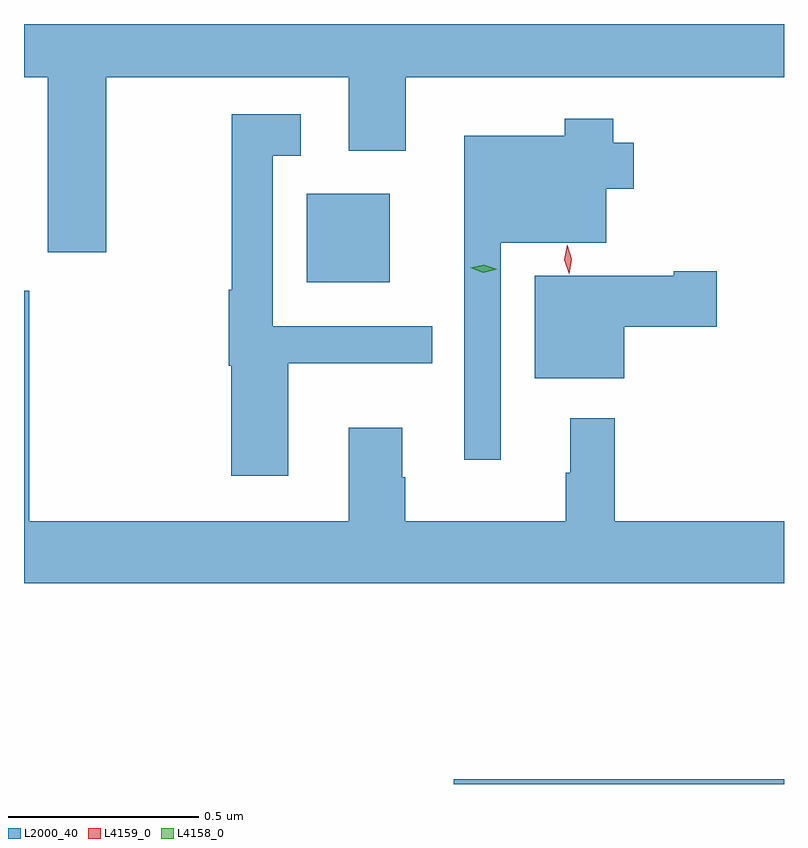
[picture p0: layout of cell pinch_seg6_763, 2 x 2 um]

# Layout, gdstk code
import gdstk
lib = gdstk.Library(unit=1e-6, precision=1e-09)
def R(c, l, rs):  # rectangles x0, y0, x1, y1
    for r in rs: c.add(gdstk.rectangle(r[:2], r[2:], *l))
def P(c, l, *ps):  # polygons
    for p in ps: c.add(gdstk.Polygon(p, *l))
L2000_40 = (2000, 40)
L4158_0 = (4158, 0)
L4159_0 = (4159, 0)

pinch_seg6_763 = lib.new_cell('pinch_seg6_763')
R(pinch_seg6_763, L2000_40, [(507.143,936.152,508.012,936.164), (506.756,937.472,506.974,937.705)])
P(pinch_seg6_763, L2000_40, [(506.229,938.012),(506.867,938.012),(506.867,937.818),(507.016,937.818),(507.016,938.012),(508.012,938.012),(508.012,938.152),(506.012,938.152),(506.012,938.012),(506.074,938.012),(506.074,937.551),(506.229,937.551)],
  [(506.707,937.259),(507.086,937.259),(507.086,937.356),(506.667,937.356),(506.667,937.805),(506.74,937.805),(506.74,937.915),(506.559,937.915),(506.559,937.453),(506.551,937.453),(506.551,937.253),(506.558,937.253),(506.558,936.963),(506.707,936.963)],
  [(507.267,937.577),(507.544,937.577),(507.544,937.718),(507.617,937.718),(507.617,937.84),(507.563,937.84),(507.563,937.903),(507.435,937.903),(507.435,937.858),(507.17,937.858),(507.17,937.481),(507.171,937.481),(507.171,937.005),(507.267,937.005)],
  [(507.592,937.355),(507.835,937.355),(507.835,937.502),(507.722,937.502),(507.722,937.489),(507.356,937.489),(507.356,937.22),(507.592,937.22)],
  [(508.012,936.844),(507.566,936.844),(507.566,937.114),(507.449,937.114),(507.449,936.971),(507.438,936.971),(507.438,936.844),(507.015,936.844),(507.015,936.959),(507.007,936.959),(507.007,937.09),(506.867,937.09),(506.867,936.844),(506.026,936.844),(506.026,937.45),(506.012,937.45),(506.012,936.68),(508.012,936.68)])
P(pinch_seg6_763, L4158_0, [(507.221,937.498),(507.186,937.51),(507.186,937.51),(507.186,937.51),(507.222,937.518),(507.257,937.507),(507.257,937.507),(507.257,937.506)])
P(pinch_seg6_763, L4159_0, [(507.447,937.493),(507.447,937.493),(507.434,937.531),(507.441,937.571),(507.441,937.571),(507.441,937.571),(507.454,937.533),(507.447,937.493)])

lib.write_gds('pinch_seg6_763.gds')
